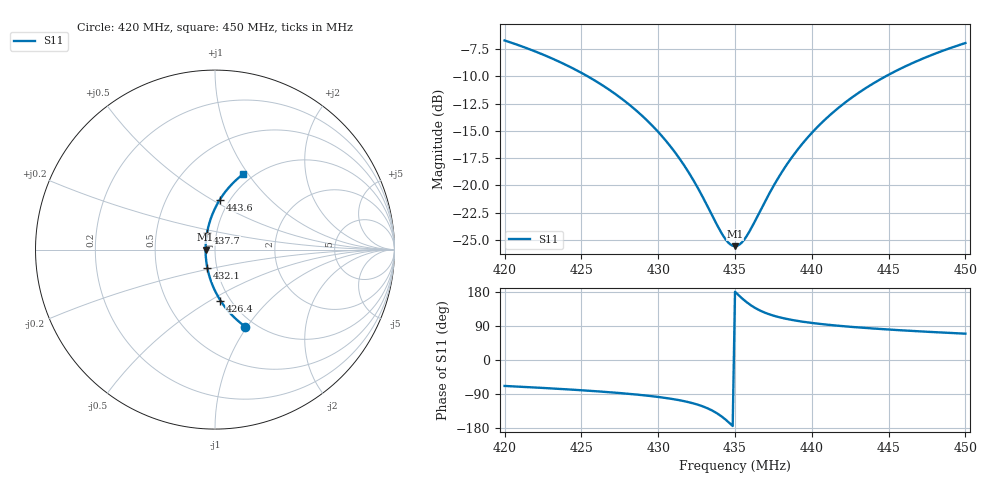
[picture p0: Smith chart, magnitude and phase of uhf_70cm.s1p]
! Synthetic NanoVNA-style sweep for s1pdiff self-test
# Hz S RI R 50
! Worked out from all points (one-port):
!   201 points, 420 MHz to 450 MHz, reference 50 ohm
!   lowest |S11| = -25.6 dB at 435 MHz (marker M1), VSWR 1.11, Z = 45 + j0 ohm
!   |S11| at or under -10 dB: 425.4 MHz to 444.8 MHz (19.4 MHz wide, 4.46 % of centre)
!   S11 on the Smith chart (normalised r, x): 420 MHz: 0.90, -0.98; 426.4 MHz: 0.90, -0.56; 432.1 MHz: 0.90, -0.18; 437.7 MHz: 0.90, +0.17; 443.6 MHz: 0.90, +0.55; 450 MHz: 0.90, +0.95
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4.2e8  0.1695 -0.4295
4.2195e8  0.1239 -0.3933
4.2375e8  0.084 -0.3538
4.251e8  0.056 -0.3203
4.2645e8  0.0304 -0.2837
4.275e8  0.0123 -0.2532
4.2855e8  -0.00397 -0.221
4.296e8  -0.0181 -0.1874
4.305e8  -0.0285 -0.1576
4.3125e8  -0.0358 -0.1322
4.3215e8  -0.0428 -0.101
4.3275e8  -0.0465 -0.08
4.3425e8  -0.052 -0.0268
4.347e8  -0.0525 -0.0107
4.35e8  -0.0526 0
4.353e8  -0.0525 0.0107
4.3575e8  -0.052 0.0267
4.377e8  -0.044 0.0952
4.3875e8  -0.0361 0.1311
4.395e8  -0.029 0.1561
4.404e8  -0.0189 0.1853
4.4145e8  -0.00533 0.2181
4.425e8  0.0102 0.2494
4.4355e8  0.0274 0.279
4.449e8  0.0517 0.3145
4.4625e8  0.0779 0.347
4.4805e8  0.1153 0.3854
4.5e8  0.1577 0.4209
